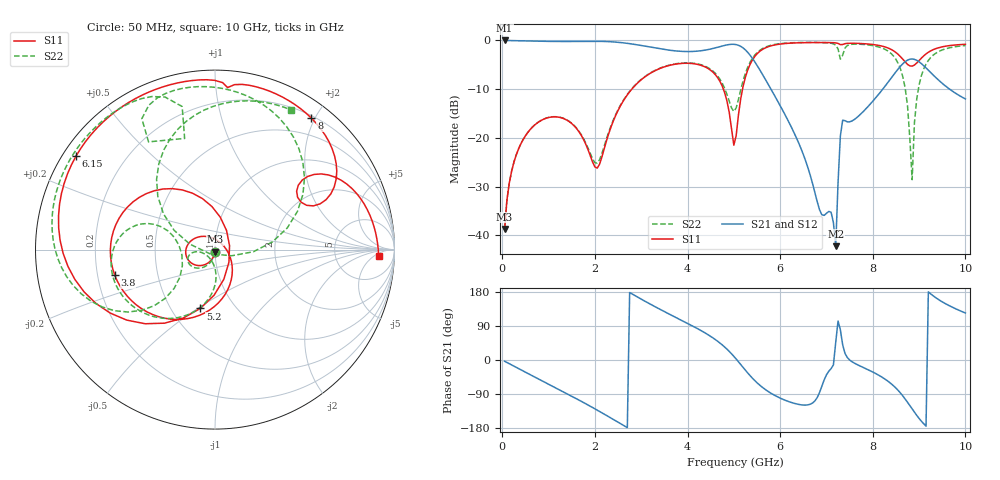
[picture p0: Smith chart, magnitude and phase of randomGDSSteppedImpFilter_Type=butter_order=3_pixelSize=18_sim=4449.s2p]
! freq	dB(S11)	phase(S11)	dB(S12)	phase(S12)
!  dB(S21)	phase(S21)	dB(S22)	phase(S22)
!S-par simulation data
#  GHz  S  DB  R 50
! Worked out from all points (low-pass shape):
!   200 points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, 50 MHz to 10 GHz, reference 50 ohm
!   highest |S21| = -0.01 dB at 50 MHz (marker M1); lowest = -42.2 dB at 7.2 GHz (marker M2)
!   |S21| within 3 dB of the highest: start of sweep to 5.349 GHz
!   lowest |S11| = -38.7 dB at 50 MHz (marker M3), VSWR 1.02, Z = 49.9 - j1.16 ohm
!   |S11| at or under -10 dB: start of sweep to 2.797 GHz; 4.773 GHz to 5.188 GHz (414.8 MHz wide, 8.33 % of centre)
!   |S22| runs from -38.7 to -0.4 dB; largest |S21 - S12| = 0
!   S11 on the Smith chart (normalised r, x): 50 MHz: 1.00, -0.02; 3.8 GHz: 0.27, -0.12; 5.2 GHz: 0.69, -0.51; 6.15 GHz: 0.04, +0.30; 8 GHz: 0.23, +1.95; 10 GHz: 18, -8
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0.05  -38.71 -92.1  -0.01 -3.3  -0.01 -3.3  -38.70 -91.4
0.6  -18.32 -132.8  -0.12 -38.5  -0.12 -38.5  -18.30 -124.9
1.75  -20.26 130.3  -0.18 -111.9  -0.18 -111.9  -20.08 -173.2
2.05  -26.22 42.9  -0.18 -132.3  -0.18 -132.3  -25.21 -128.6
2.55  -13.46 -67.1  -0.43 -167.7  -0.43 -167.7  -13.32 -91.5
3.4  -5.77 -137.7  -1.71 134.1  -1.71 134.1  -5.71 -135.2
3.8  -4.79 -165.7  -2.20 109.1  -2.20 109.1  -4.72 -156.2
4.6  -7.03 130.7  -1.53 54.0  -1.53 54.0  -6.76 162.8
5.05  -19.57 -42.4  -0.86 2.7  -0.86 2.7  -13.87 -153.8
5.2  -9.41 -104.0  -1.54 -19.6  -1.54 -19.6  -8.26 -135.6
5.65  -1.68 -173.5  -7.49 -75.3  -7.49 -75.3  -1.52 -169.7
6.15  -0.60 146.1  -16.07 -108.2  -16.07 -108.2  -0.53 160.1
6.7  -0.43 115.3  -29.39 -113.5  -29.39 -113.5  -0.41 135.3
7.2  -0.51 90.1  -42.24 46.7  -42.24 46.7  -0.97 108.1
7.35  -0.84 85.3  -16.38 40.1  -16.38 40.1  -3.03 121.7
8  -0.84 53.7  -12.49 -31.7  -12.49 -31.7  -1.06 81.6
8.35  -1.64 35.4  -8.34 -58.0  -8.34 -58.0  -2.33 55.2
8.7  -4.44 24.0  -4.36 -103.0  -4.36 -103.0  -9.81 7.6
8.85  -5.28 32.4  -3.81 -129.1  -3.81 -129.1  -28.60 -142.0
8.95  -4.63 37.7  -4.09 -146.2  -4.09 -146.2  -11.99 154.8
9.1  -3.17 37.1  -5.19 -168.3  -5.19 -168.3  -5.87 129.8
10  -0.80 -2.2  -12.01 124.0  -12.01 124.0  -1.05 61.3
